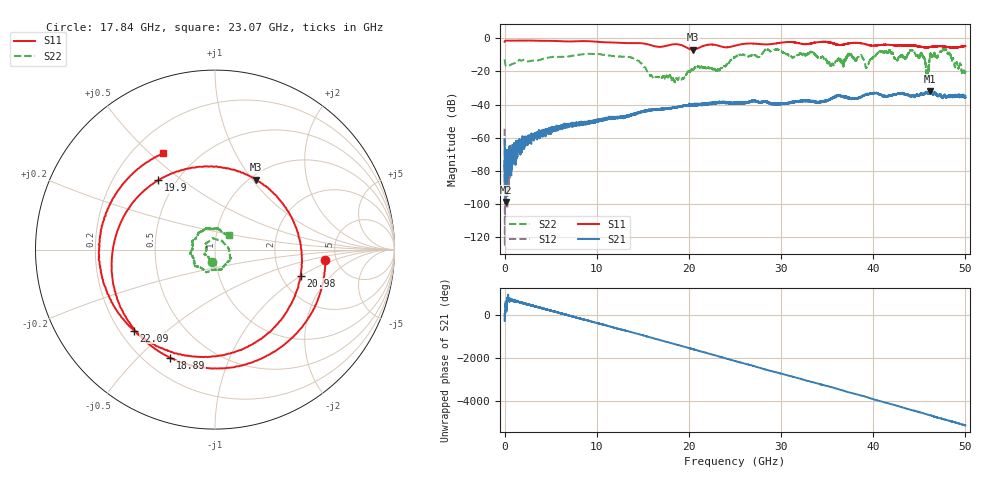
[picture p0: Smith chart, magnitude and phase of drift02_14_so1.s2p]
!Created with skrf (http://scikit-rf.org).
# Hz S RI R 50.0
!freq ReS11 ImS11 ReS21 ImS21 ReS12 ImS12 ReS22 ImS22
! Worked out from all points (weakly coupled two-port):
!   10001 points, 300 kHz to 50 GHz, reference 50 ohm
!   highest |S21| = -31.74 dB at 46.17 GHz (marker M1); lowest = -98.7 dB at 145.3 MHz (marker M2)
!   lowest |S11| = -6.9 dB at 20.4 GHz (marker M3), VSWR 2.64, Z = 53.2 + j51.9 ohm
!   |S11| at or under -10 dB: nowhere
!   |S22| runs from -26.6 to -6.2 dB; largest |S21 - S12| = 0.0034
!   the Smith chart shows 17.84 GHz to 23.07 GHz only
!   S11 on the Smith chart (normalised r, x): 17.84 GHz: 4.07, -0.75; 18.89 GHz: 0.30, -0.63; 19.9 GHz: 0.40, +0.41; 20.98 GHz: 2.55, -0.98; 22.09 GHz: 0.26, -0.39; 23.07 GHz: 0.32, +0.55
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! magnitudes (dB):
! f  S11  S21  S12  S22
! 300 kHz  -2.1  -60.9  -54.6  -12.7
! 145.3 MHz  -1.5  -98.7  -90.5  -16.8
! 3.165 GHz  -1.4  -58.6  -61.0  -13.5
! 8.335 GHz  -1.7  -51.8  -51.8  -9.7
! 13.7 GHz  -2.9  -46.4  -46.6  -11.6
! 16.67 GHz  -5.2  -42.8  -42.9  -23.5
! 17.84 GHz  -4.2  -42.1  -42.4  -23.1
! 18.89 GHz  -3.7  -41.5  -41.1  -24.4
! 19.9 GHz  -6.0  -40.3  -40.3  -20.0
! 20.4 GHz  -6.9  -40.0  -40.3  -19.0
! 20.98 GHz  -6.0  -39.6  -39.6  -16.9
! 22.09 GHz  -3.9  -39.1  -39.4  -17.5
! 23.07 GHz  -4.3  -39.0  -38.7  -19.0
! 25 GHz  -4.5  -39.2  -39.0  -11.5
! 33.34 GHz  -3.0  -38.0  -38.0  -8.4
! 39.32 GHz  -3.8  -33.7  -33.8  -17.1
! 41.67 GHz  -4.0  -34.8  -34.8  -7.9
! 44.25 GHz  -4.2  -34.7  -34.9  -7.2
! 45.85 GHz  -5.4  -33.1  -32.9  -19.2
! 46.17 GHz  -5.3  -31.7  -31.8  -9.8
! 47.75 GHz  -5.0  -34.7  -34.5  -6.8
! 50 GHz  -4.7  -34.8  -35.5  -19.6
